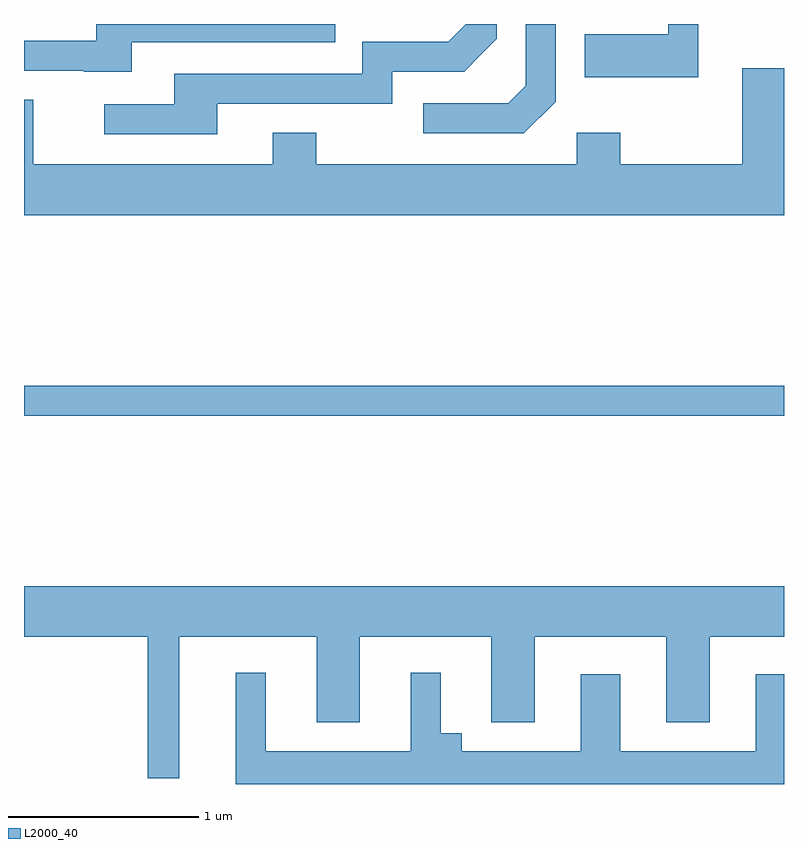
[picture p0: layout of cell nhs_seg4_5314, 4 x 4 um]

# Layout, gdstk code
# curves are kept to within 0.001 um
import gdstk
lib = gdstk.Library(unit=1e-6, precision=1e-09)
def R(c, l, rs):  # rectangles x0, y0, x1, y1
    for r in rs: c.add(gdstk.rectangle(r[:2], r[2:], *l))
def P(c, l, *ps):  # polygons
    for p in ps: c.add(gdstk.Polygon(p, *l))
L2000_40 = (2000, 40)

nhs_seg4_5314 = lib.new_cell('nhs_seg4_5314')
R(nhs_seg4_5314, L2000_40, [(341.611,1275.921,345.611,1276.079)])
P(nhs_seg4_5314, L2000_40, [(342.179,1277.886),(343.248,1277.886),(343.248,1277.982),(341.991,1277.982),(341.991,1277.894),(341.611,1277.894),(341.611,1277.736),(341.925,1277.736),(341.925,1277.731),(342.179,1277.731)],
  [(345.159,1277.982),(345.001,1277.982),(345.001,1277.929),(344.561,1277.929),(344.561,1277.701),(345.159,1277.701)],
  [(342.629,1277.561),(343.549,1277.561),(343.549,1277.731),(343.927,1277.731),(344.099,1277.904),(344.099,1277.982),(343.936,1277.982),(343.844,1277.889),(343.391,1277.889),(343.391,1277.719),(342.401,1277.719),(342.401,1277.559),(342.033,1277.559),(342.033,1277.401),(342.629,1277.401)],
  [(344.409,1277.574),(344.409,1277.982),(344.251,1277.982),(344.251,1277.657),(344.159,1277.564),(343.713,1277.564),(343.713,1277.406),(344.242,1277.406)],
  [(345.611,1277.749),(345.391,1277.749),(345.391,1277.244),(344.749,1277.244),(344.749,1277.409),(344.521,1277.409),(344.521,1277.244),(343.149,1277.244),(343.149,1277.409),(342.921,1277.409),(342.921,1277.244),(341.659,1277.244),(341.659,1277.584),(341.611,1277.584),(341.611,1276.976),(345.611,1276.976)],
  [(341.611,1274.756),(342.261,1274.756),(342.261,1274.013),(342.429,1274.013),(342.429,1274.756),(343.151,1274.756),(343.151,1274.306),(343.379,1274.306),(343.379,1274.756),(344.071,1274.756),(344.071,1274.306),(344.299,1274.306),(344.299,1274.756),(344.991,1274.756),(344.991,1274.306),(345.219,1274.306),(345.219,1274.756),(345.611,1274.756),(345.611,1275.024),(341.611,1275.024)],
  [(345.611,1274.559),(345.461,1274.559),(345.461,1274.154),(344.749,1274.154),(344.749,1274.559),(344.541,1274.559),(344.541,1274.154),(343.914,1274.154),(343.914,1274.249),(343.804,1274.249),(343.804,1274.568),(343.646,1274.568),(343.646,1274.154),(342.884,1274.154),(342.884,1274.568),(342.726,1274.568),(342.726,1273.982),(345.611,1273.982)])

lib.write_gds('nhs_seg4_5314.gds')
